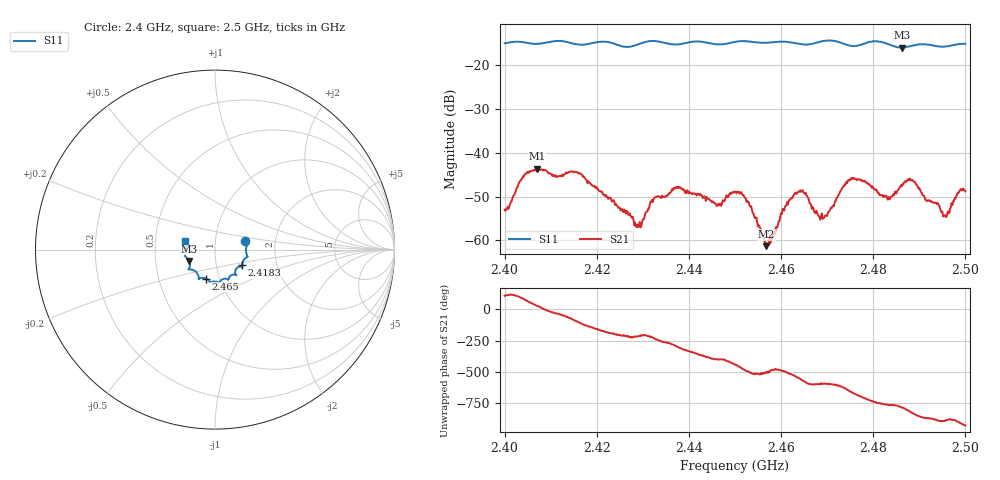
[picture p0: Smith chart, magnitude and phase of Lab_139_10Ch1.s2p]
# Hz S RI R 50
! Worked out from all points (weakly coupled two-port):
!   601 points, 2.4 GHz to 2.5 GHz, reference 50 ohm
!   highest |S21| = -43.68 dB at 2.407 GHz (marker M1); lowest = -61.3 dB at 2.4568 GHz (marker M2)
!   lowest |S11| = -16.1 dB at 2.4862 GHz (marker M3), VSWR 1.37, Z = 37.2 - j4.79 ohm
!   |S11| at or under -10 dB: start of sweep to end of sweep
!   S12 and S22 are empty: the file has one direction only
!   S11 on the Smith chart (normalised r, x): 2.4 GHz: 1.40, +0.13; 2.4183 GHz: 1.33, -0.24; 2.465 GHz: 0.86, -0.28; 2.5 GHz: 0.71, +0.07
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2.4e9  0.1688 0.0465  -0.000729 0.00212  0 0  0 0
2.404167e9  0.1782 0.0263  0.00063 0.00531  0 0  0 0
2.407e9  0.1726 -0.0035  0.00571 0.0032  0 0  0 0
2.416667e9  0.1546 -0.0679  -0.0022 -0.00521  0 0  0 0
2.418333e9  0.1499 -0.0869  -0.00336 -0.00316  0 0  0 0
2.428667e9  0.1121 -0.1253  -0.00114 0.000833  0 0  0 0
2.433333e9  0.1179 -0.141  -0.00137 0.00289  0 0  0 0
2.437667e9  0.0849 -0.1475  0.00202 0.00355  0 0  0 0
2.4465e9  0.0491 -0.1628  0.00202 -0.00167  0 0  0 0
2.45e9  0.0259 -0.1801  0.000529 -0.00357  0 0  0 0
2.453167e9  0.0182 -0.1828  -0.00199 -0.00146  0 0  0 0
2.456833e9  -0.00811 -0.1773  -0.0007 -0.0005  0 0  0 0
2.461833e9  -0.0314 -0.1776  -0.0026 -0.00133  0 0  0 0
2.465e9  -0.0525 -0.1613  -0.00287 0.00198  0 0  0 0
2.466667e9  -0.0713 -0.1572  -0.00121 0.00195  0 0  0 0
2.4695e9  -0.0907 -0.1637  -0.00114 0.00152  0 0  0 0
2.475667e9  -0.1066 -0.1232  0.00325 0.00399  0 0  0 0
2.483333e9  -0.141 -0.0964  0.00227 -0.00214  0 0  0 0
2.486167e9  -0.1434 -0.0628  0.00196 -0.00363  0 0  0 0
2.4885e9  -0.1594 -0.0432  -0.00149 -0.00464  0 0  0 0
2.4955e9  -0.1603 0.0101  -0.00186 -0.000382  0 0  0 0
2.5e9  -0.1666 0.0468  -0.00322 0.00163  0 0  0 0
